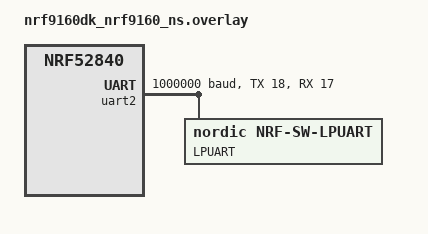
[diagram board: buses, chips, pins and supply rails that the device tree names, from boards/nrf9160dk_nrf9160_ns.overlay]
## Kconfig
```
#
# Copyright (c) 2018 Nordic Semiconductor ASA
#
# SPDX-License-Identifier: LicenseRef-Nordic-5-Clause
#

menu "LTE BLE gateway sample"

choice
	prompt "GPS device"
	default GPS_USE_SIM
	help
		Select from which device GPS data will be fetched.

config GPS_USE_SIM
	bool "Use GPS simulator"
	select GPS_SIM
	select GPS_SIM_TRIGGER
	help
		Use simulated GPS data.

config GPS_USE_NRF9160
	bool "User provided GPS device"
	help
		Provide a GPS device that location data will be fetched from and
		sent to nRF Cloud

endchoice

config GPS_DEV_NAME
	string
	default GPS_SIM_DEV_NAME if GPS_USE_SIM
	default "NRF9160_GPS" if GPS_USE_NRF9160

config GPS_SEARCH_INTERVAL
	int "Interval for starting GPS search"
	default 240

config GPS_SEARCH_TIMEOUT
	int "Timeout for GPS search"
	default 120
	help
	  The GPS will stop acquiring GPS fix when it times out.
	  It will restart the search at the start of the next search interval.

endmenu

menu "Zephyr Kernel"
source "Kconfig.zephyr"
endmenu
```

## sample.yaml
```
sample:
  name: LTE-BLE gateway sample
tests:
  samples.nrf9160.lte_ble_gateway:
    build_only: true
    platform_allow: nrf9160dk_nrf9160_ns
    integration_platforms:
      - nrf9160dk_nrf9160_ns
    tags: ci_build
```

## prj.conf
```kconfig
#
# Copyright (c) 2019 Nordic Semiconductor ASA
#
# SPDX-License-Identifier: LicenseRef-Nordic-5-Clause
#
# General config
CONFIG_NEWLIB_LIBC=y
CONFIG_ASSERT=y
CONFIG_REBOOT=y

# Network
CONFIG_NETWORKING=y
CONFIG_NET_NATIVE=n
CONFIG_NET_SOCKETS=y
CONFIG_NET_SOCKETS_OFFLOAD=y

# LTE link control
CONFIG_LTE_LINK_CONTROL=y
CONFIG_LTE_AUTO_INIT_AND_CONNECT=n

# AT host
CONFIG_AT_HOST_LIBRARY=y

# Modem library
CONFIG_NRF_MODEM_LIB=y

# Disable Modem traces, since we need UART1 for HCI
CONFIG_NRF_MODEM_LIB_TRACE_ENABLED=n

# nRF Cloud
CONFIG_NRF_CLOUD_MQTT=y

# GPS
CONFIG_GPS_USE_SIM=y

# For demo purposes, we acquire fix often
CONFIG_GPS_SEARCH_INTERVAL=30
CONFIG_GPS_SEARCH_TIMEOUT=15

# The two configurations below are required if using the nRF9160's built-in GPS
# CONFIG_NRF9160_GPS=y
# CONFIG_GPS_USE_NRF9160=y

# Library for buttons and LEDs
CONFIG_DK_LIBRARY=y
CONFIG_DK_LIBRARY_INVERT_LEDS=n

# Console for user association
CONFIG_CONSOLE_SUBSYS=y
CONFIG_CONSOLE_GETCHAR=y

# Enable Bluetooth stack and libraries
CONFIG_BT=y
CONFIG_BT_H4=y
CONFIG_BT_WAIT_NOP=y
CONFIG_BT_CENTRAL=y
CONFIG_BT_GATT_CLIENT=y
CONFIG_BT_GATT_DM=y
CONFIG_BT_SCAN=y
CONFIG_BT_SCAN_FILTER_ENABLE=y
CONFIG_BT_SCAN_UUID_CNT=1

CONFIG_UART_INTERRUPT_DRIVEN=y

# Heap and stacks
CONFIG_HEAP_MEM_POOL_SIZE=16384
CONFIG_MAIN_STACK_SIZE=8192

# Mitigation for NCSIDB-356
CONFIG_ZERO_LATENCY_IRQS=n
```

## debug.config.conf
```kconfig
#
# Copyright (c) 2021 Nordic Semiconductor ASA
#
# SPDX-License-Identifier: LicenseRef-Nordic-5-Clause
#

CONFIG_LOG=y

# When enabled, non-secure logs are printed to UARTE0 when secure fault occurs
CONFIG_SPM_NS_DEBUG_LOGS_DUMP=y
CONFIG_SPM_SERVICE_NS_HANDLER_FROM_SPM_FAULT=y
```

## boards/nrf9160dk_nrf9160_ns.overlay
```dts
#include <nrf9160dk_nrf52840_reset_on_if5.dtsi>

/ {
	chosen {
		zephyr,bt-uart=&lpuart;
	};
};

&gpiote {
	interrupts = <49 NRF_DEFAULT_IRQ_PRIORITY>;
};

&uart2 {
	current-speed = <1000000>;
	status = "okay";
	tx-pin = <18>; /* <&interface_to_nrf52840 1 0>; */
	rx-pin = <17>; /* <&interface_to_nrf52840 0 0>; */
	/delete-property/ rts-pin;
	/delete-property/ cts-pin;
	/delete-property/ hw-flow-control;

	lpuart: nrf-sw-lpuart {
		compatible = "nordic,nrf-sw-lpuart";
		status = "okay";
		label = "LPUART";
		req-pin = <21>; /* <&interface_to_nrf52840 3 0>; */
		rdy-pin = <19>; /* <&interface_to_nrf52840 2 0>; */
	};
};
```

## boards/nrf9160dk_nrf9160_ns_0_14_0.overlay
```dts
/* Use the reset line that is available starting from v0.14.0 of the DK. */
#include <nrf9160dk_nrf52840_reset_on_if9.dtsi>
```

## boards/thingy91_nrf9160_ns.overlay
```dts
/ {
	chosen {
		zephyr,bt-uart=&lpuart;
	};
};

&uart1 {
	current-speed = <1000000>;
	status = "okay";
	tx-pin = <22>;
	rx-pin = <23>;
	/delete-property/ rts-pin;
	/delete-property/ cts-pin;
	/delete-property/ hw-flow-control;

	lpuart: nrf-sw-lpuart {
		compatible = "nordic,nrf-sw-lpuart";
		status = "okay";
		label = "LPUART";
		req-pin = <24>;
		rdy-pin = <25>;
	};
};

&gpiote {
	interrupts = <49 NRF_DEFAULT_IRQ_PRIORITY>;
};

&uart0 {
	status = "disabled";
};
```

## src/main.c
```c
/*
 * Copyright (c) 2018 Nordic Semiconductor ASA
 *
 * SPDX-License-Identifier: LicenseRef-Nordic-5-Clause
 */

#include <zephyr.h>
#include <stdio.h>
#include <string.h>
#include <drivers/gps.h>
#include <drivers/sensor.h>
#include <console/console.h>
#include <net/nrf_cloud.h>
#include <dk_buttons_and_leds.h>
#include <modem/lte_lc.h>
#include <sys/reboot.h>
#include <modem/nrf_modem_lib.h>

#include "aggregator.h"
#include "ble.h"
#include "alarm.h"

/* Interval in milliseconds between each time status LEDs are updated. */
#define LEDS_UPDATE_INTERVAL K_MSEC(500)

/* Interval in microseconds between each time LEDs are updated when indicating
 * that an error has occurred.
 */
#define LEDS_ERROR_UPDATE_INTERVAL 250000

#define BUTTON_1 BIT(0)
#define BUTTON_2 BIT(1)
#define SWITCH_1 BIT(2)
#define SWITCH_2 BIT(3)

#define LED_ON(x)			(x)
#define LED_BLINK(x)		((x) << 8)
#define LED_GET_ON(x)		((x) & 0xFF)
#define LED_GET_BLINK(x)	(((x) >> 8) & 0xFF)

/* Interval in milliseconds after the device will retry cloud connection
 * if the event NRF_CLOUD_EVT_TRANSPORT_CONNECTED is not received.
 */
#define RETRY_CONNECT_WAIT K_MSEC(90000)

enum {
	LEDS_INITIALIZING       = LED_ON(0),
	LEDS_LTE_CONNECTING     = LED_BLINK(DK_LED3_MSK),
	LEDS_LTE_CONNECTED      = LED_ON(DK_LED3_MSK),
	LEDS_CLOUD_CONNECTING   = LED_BLINK(DK_LED4_MSK),
	LEDS_CLOUD_PAIRING_WAIT = LED_BLINK(DK_LED3_MSK | DK_LED4_MSK),
	LEDS_CLOUD_CONNECTED    = LED_ON(DK_LED4_MSK),
	LEDS_ERROR              = LED_ON(DK_ALL_LEDS_MSK)
} display_state;

/* Variable to keep track of nRF cloud user association request. */
static atomic_val_t association_requested;

/* Sensor data */
static struct gps_nmea gps_nmea_data;
static struct nrf_cloud_sensor_data gps_cloud_data = {
	.type = NRF_CLOUD_SENSOR_GPS,
	.tag = 0x1,
	.data.ptr = gps_nmea_data.buf,
	.data.len = GPS_NMEA_SENTENCE_MAX_LENGTH,
};
static atomic_val_t send_data_enable;

/* Structures for work */
static struct k_work_delayable leds_update_work;
static struct k_work_delayable connect_work;
struct k_work_delayable aggregated_work;

static bool cloud_connected;

enum error_type {
	ERROR_NRF_CLOUD,
	ERROR_MODEM_RECOVERABLE,
};

/* Forward declaration of functions */
static void cloud_connect(struct k_work *work);
static void sensors_init(void);
static void work_init(void);

void sensor_data_send(struct nrf_cloud_sensor_data *data);

/**@brief nRF Cloud error handler. */
void error_handler(enum error_type err_type, int err)
{
	if (err_type == ERROR_NRF_CLOUD) {
		int err;

		/* Turn off and shutdown modem */
		k_sched_lock();
		err = lte_lc_power_off();
		__ASSERT(err == 0, "lte_lc_power_off failed: %d", err);
		nrf_modem_lib_shutdown();
	}

#if !defined(CONFIG_DEBUG)
	sys_reboot(SYS_REBOOT_COLD);
#else
	uint8_t led_pattern;

	switch (err_type) {
	case ERROR_NRF_CLOUD:
		/* Blinking all LEDs ON/OFF in pairs (1 and 4, 2 and 3)
		 * if there is an application error.
		 */
		led_pattern = DK_LED1_MSK | DK_LED4_MSK;
		printk("Error of type ERROR_NRF_CLOUD: %d\n", err);
		break;
	case ERROR_MODEM_RECOVERABLE:
		/* Blinking all LEDs ON/OFF in pairs (1 and 3, 2 and 4)
		 * if there is a recoverable error.
		 */
		led_pattern = DK_LED1_MSK | DK_LED3_MSK;
		printk("Error of type ERROR_MODEM_RECOVERABLE: %d\n", err);
		break;
	default:
		/* Blinking all LEDs ON/OFF in pairs (1 and 2, 3 and 4)
		 * undefined error.
		 */
		led_pattern = DK_LED1_MSK | DK_LED2_MSK;
		break;
	}

	while (true) {
		dk_set_leds(led_pattern & 0x0f);
		k_busy_wait(LEDS_ERROR_UPDATE_INTERVAL);
		dk_set_leds(~led_pattern & 0x0f);
		k_busy_wait(LEDS_ERROR_UPDATE_INTERVAL);
	}
#endif /* CONFIG_DEBUG */
}

void nrf_cloud_error_handler(int err)
{
	error_handler(ERROR_NRF_CLOUD, err);
}

/**@brief Recoverable modem library error. */
void nrf_modem_recoverable_error_handler(uint32_t err)
{
	error_handler(ERROR_MODEM_RECOVERABLE, (int)err);
}

/**@brief Callback for GPS events */
static void gps_handler(const struct device *dev, struct gps_event *evt)
{
	uint32_t button_state, has_changed;
	struct sensor_data in_data = {
		.type = GPS_POSITION,
		.length = evt->nmea.len,
	};

	ARG_UNUSED(dev);

	switch (evt->type) {
	case GPS_EVT_SEARCH_STARTED:
		printk("GPS_EVT_SEARCH_STARTED\n");
		return;
	case GPS_EVT_SEARCH_STOPPED:
		printk("GPS_EVT_SEARCH_STOPPED\n");
		return;
	case GPS_EVT_SEARCH_TIMEOUT:
		printk("GPS_EVT_SEARCH_TIMEOUT\n");
		return;
	case GPS_EVT_PVT_FIX:
		printk("GPS_EVT_PVT_FIX\n");
		return;
	case GPS_EVT_NMEA_FIX:
		printk("GPS_EVT_NMEA_FIX\n");
		break;
	default:
		return;
	}

	dk_read_buttons(&button_state, &has_changed);

	if ((button_state & SWITCH_2) || !atomic_get(&send_data_enable)) {
		return;
	}

	gps_cloud_data.tag++;

	if (gps_cloud_data.tag == 0) {
		gps_cloud_data.tag = 0x1;
	}

	memcpy(&in_data.data[0], &gps_cloud_data.tag,
		sizeof(gps_cloud_data.tag));

	memcpy(&in_data.data[sizeof(gps_cloud_data.tag)],
		evt->nmea.buf, evt->nmea.len);

	if (aggregator_put(in_data) != 0) {
		printk("Failed to store GPS data.\n");
	}
}

/**@brief Update LEDs state. */
static void leds_update(struct k_work *work)
{
	static bool led_on;
	static uint8_t current_led_on_mask;
	uint8_t led_on_mask = current_led_on_mask;

	ARG_UNUSED(work);

	/* Reset LED3 and LED4. */
	led_on_mask &= ~(DK_LED3_MSK | DK_LED4_MSK);

	/* Set LED3 and LED4 to match current state. */
	led_on_mask |= LED_GET_ON(display_state);

	led_on = !led_on;
	if (led_on) {
		led_on_mask |= LED_GET_BLINK(display_state);
	} else {
		led_on_mask &= ~LED_GET_BLINK(display_state);
	}

	if (led_on_mask != current_led_on_mask) {
		dk_set_leds(led_on_mask);
		current_led_on_mask = led_on_mask;
	}

	k_work_schedule(&leds_update_work, LEDS_UPDATE_INTERVAL);
}

/**@brief Send sensor data to nRF Cloud. **/
void sensor_data_send(struct nrf_cloud_sensor_data *data)
{
	int err;

	if (!atomic_get(&send_data_enable)) {
		return;
	}

	if (data->type == NRF_CLOUD_SENSOR_FLIP) {
		err = nrf_cloud_sensor_data_stream(data);
	} else {
		err = nrf_cloud_sensor_data_send(data);
	}

	if (err) {
		printk("Failed to send data to cloud: %d\n", err);
		nrf_cloud_error_handler(err);
	}
}

static void on_cloud_evt_user_association_request(void)
{
	if (atomic_get(&association_requested) == 0) {
		atomic_set(&association_requested, 1);
		printk("Add device to cloud account.\n");
		printk("Waiting for cloud association...\n");
	}
}

static void on_cloud_evt_user_associated(void)
{
	int err;

	if (atomic_get(&association_requested)) {
		atomic_set(&association_requested, 0);

		/* after successful association, the device must
		 * reconnect to aws.
		 */
		printk("Device associated with cloud.\n");
		printk("Reconnecting for settings to take effect.\n");
		printk("Disconnecting from cloud...\n");

		err = nrf_cloud_disconnect();

		if (err == 0) {
			return;
		} else {
			printk("Disconnect failed, rebooting...\n");
			nrf_cloud_error_handler(err);
		}
	}
}

/**@brief Callback for nRF Cloud events. */
static void cloud_event_handler(const struct nrf_cloud_evt *evt)
{
	switch (evt->type) {
	case NRF_CLOUD_EVT_TRANSPORT_CONNECTED:
		printk("NRF_CLOUD_EVT_TRANSPORT_CONNECTED\n");
		cloud_connected = true;
		/* This may fail if the work item is already being processed,
		 * but in such case, the next time the work handler is executed,
		 * it will exit after checking the above flag and the work will
		 * not be scheduled again.
		 */
		(void)k_work_cancel_delayable(&connect_work);
		break;
	case NRF_CLOUD_EVT_USER_ASSOCIATION_REQUEST:
		printk("NRF_CLOUD_EVT_USER_ASSOCIATION_REQUEST\n");
		display_state = LEDS_CLOUD_PAIRING_WAIT;
		on_cloud_evt_user_association_request();
		break;
	case NRF_CLOUD_EVT_USER_ASSOCIATED:
		printk("NRF_CLOUD_EVT_USER_ASSOCIATED\n");
		on_cloud_evt_user_associated();
		break;
	case NRF_CLOUD_EVT_READY:
		printk("NRF_CLOUD_EVT_READY\n");
		display_state = LEDS_CLOUD_CONNECTED;
		sensors_init();
		atomic_set(&send_data_enable, 1);
		k_work_schedule(&aggregated_work, K_MSEC(100));
		break;
	case NRF_CLOUD_EVT_SENSOR_DATA_ACK:
		printk("NRF_CLOUD_EVT_SENSOR_DATA_ACK\n");
		break;
	case NRF_CLOUD_EVT_TRANSPORT_DISCONNECTED:
		printk("NRF_CLOUD_EVT_TRANSPORT_DISCONNECTED\n");
		atomic_set(&send_data_enable, 0);
		k_work_cancel_delayable(&aggregated_work);
		display_state = LEDS_INITIALIZING;

		cloud_connected = false;
		/* Reconnect to nRF Cloud. */
		k_work_schedule(&connect_work, K_NO_WAIT);
		break;
	case NRF_CLOUD_EVT_ERROR:
		printk("NRF_CLOUD_EVT_ERROR, status: %d\n", evt->status);
		atomic_set(&send_data_enable, 0);
		display_state = LEDS_ERROR;
		nrf_cloud_error_handler(evt->status);
		break;
	default:
		printk("Received unknown event %d\n", evt->type);
		break;
	}
}

/**@brief Initialize nRF CLoud library. */
static void cloud_init(void)
{
	const struct nrf_cloud_init_param param = {
		.event_handler = cloud_event_handler
	};

	int err = nrf_cloud_init(&param);

	__ASSERT(err == 0, "nRF Cloud library could not be initialized.");
}

/**@brief Connect to nRF Cloud, */
static void cloud_connect(struct k_work *work)
{
	int err;

	ARG_UNUSED(work);

	if (cloud_connected) {
		return;
	}

	const enum nrf_cloud_sensor supported_sensors[] = {
		NRF_CLOUD_SENSOR_GPS, NRF_CLOUD_SENSOR_FLIP
	};

	const struct nrf_cloud_sensor_list sensor_list = {
		.size = ARRAY_SIZE(supported_sensors), .ptr = supported_sensors
	};

	const struct nrf_cloud_connect_param param = {
		.sensor = &sensor_list,
	};

	err = nrf_cloud_connect(&param);

	if (err) {
		printk("nrf_cloud_connect failed: %d\n", err);
		nrf_cloud_error_handler(err);
	}

	display_state = LEDS_CLOUD_CONNECTING;
	k_work_schedule(&connect_work, RETRY_CONNECT_WAIT);
}

/**@brief Callback for button events from the DK buttons and LEDs library. */
static void button_handler(uint32_t buttons, uint32_t has_changed)
{
	printk("button_handler: button 1: %u, button 2: %u "
	       "switch 1: %u, switch 2: %u\n",
	       (bool)(buttons & BUTTON_1), (bool)(buttons & BUTTON_2),
	       (bool)(buttons & SWITCH_1), (bool)(buttons & SWITCH_2));
}

/**@brief Initializes and submits delayed work. */
static void work_init(void)
{
	k_work_init_delayable(&leds_update_work, leds_update);
	k_work_init_delayable(&connect_work, cloud_connect);
	k_work_init_delayable(&aggregated_work, send_aggregated_data);
	k_work_schedule(&leds_update_work, LEDS_UPDATE_INTERVAL);
}

/**@brief Configures modem to provide LTE link. Blocks until link is
 * successfully established.
 */
static void modem_configure(void)
{
	display_state = LEDS_LTE_CONNECTING;

	if (IS_ENABLED(CONFIG_LTE_AUTO_INIT_AND_CONNECT)) {
		/* Do nothing, modem is already turned on and connected. */
	} else {
		int err;

		printk("Establishing LTE link (this may take some time) ...\n");
		err = lte_lc_init_and_connect();
		__ASSERT(err == 0, "LTE link could not be established.");
		display_state = LEDS_LTE_CONNECTED;
	}
}

/**@brief Initializes the sensors that are used by the application. */
static void sensors_init(void)
{
	int err;
	const struct device *gps_dev = device_get_binding(CONFIG_GPS_DEV_NAME);
	struct gps_config gps_cfg = {
		.nav_mode = GPS_NAV_MODE_PERIODIC,
		.interval = CONFIG_GPS_SEARCH_INTERVAL,
		.timeout = CONFIG_GPS_SEARCH_TIMEOUT,
	};

	if (gps_dev == NULL) {
		printk("Could not get %s device\n", CONFIG_GPS_DEV_NAME);
		return;
	}

	err = gps_init(gps_dev, gps_handler);
	if (err) {
		printk("Could not initialize GPS, error: %d\n", err);
		return;
	}

	printk("GPS initialized\n");

	err = gps_start(gps_dev, &gps_cfg);
	if (err) {
		printk("Failed to start GPS, error: %d\n", err);
		return;
	}

	printk("GPS started with interval %d seconds, and timeout %d seconds\n",
	       CONFIG_GPS_SEARCH_INTERVAL, CONFIG_GPS_SEARCH_TIMEOUT);
}

/**@brief Initializes buttons and LEDs, using the DK buttons and LEDs
 * library.
 */
static void buttons_leds_init(void)
{
	int err;

	err = dk_buttons_init(button_handler);
	if (err) {
		printk("Could not initialize buttons, err code: %d\n", err);
	}

	err = dk_leds_init();
	if (err) {
		printk("Could not initialize leds, err code: %d\n", err);
	}

	err = dk_set_leds_state(0x00, DK_ALL_LEDS_MSK);
	if (err) {
		printk("Could not set leds state, err code: %d\n", err);
	}
}

void main(void)
{
	printk("LTE Sensor Gateway sample started\n");

	buttons_leds_init();
	ble_init();

	work_init();
	cloud_init();
	modem_configure();
	cloud_connect(NULL);
}
```

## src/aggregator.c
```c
/*
 * Copyright (c) 2018 Nordic Semiconductor ASA
 *
 * SPDX-License-Identifier: LicenseRef-Nordic-5-Clause
 */
#include "aggregator.h"
#include <kernel.h>
#include <zephyr.h>
#include <stdio.h>
#include <zephyr/types.h>
#include <string.h>
#include <irq.h>

K_FIFO_DEFINE(aggregator_fifo);

static uint32_t entry_count;

struct fifo_entry {
	void *fifo_reserved;
	uint8_t data[sizeof(struct sensor_data)];
};

int aggregator_put(struct sensor_data in_data)
{
	struct fifo_entry *fifo_data = NULL;
	uint32_t  lock = irq_lock();
	int    err  = 0;

	if (entry_count == FIFO_MAX_ELEMENT_COUNT) {
		fifo_data = k_fifo_get(&aggregator_fifo, K_NO_WAIT);

		__ASSERT(fifo_data != NULL, "fifo_data should not be NULL");

		entry_count--;
	}

	if (fifo_data == NULL) {
		fifo_data = k_malloc(sizeof(struct fifo_entry));
	}

	if (fifo_data == NULL) {
		err = -ENOMEM;
		goto exit;
	}

	memcpy(fifo_data->data, &in_data, sizeof(struct sensor_data));

	k_fifo_put(&aggregator_fifo, fifo_data);
	entry_count++;

exit:
	irq_unlock(lock);
	return err;
}

int aggregator_get(struct sensor_data *out_data)
{
	void  *fifo_data;
	int   err = 0;

	if (out_data == NULL) {
		return -EINVAL;
	}

	uint32_t lock = irq_lock();

	fifo_data = k_fifo_get(&aggregator_fifo, K_NO_WAIT);
	if (fifo_data == NULL) {
		err = -ENODATA;
		goto exit;
	}

	memcpy(out_data, ((struct fifo_entry *)fifo_data)->data,
	       sizeof(struct sensor_data));

	k_free(fifo_data);
	entry_count--;

exit:
	irq_unlock(lock);
	return err;
}

void aggregator_clear(void)
{
	void *fifo_data;
	uint32_t lock = irq_lock();

	while (1) {
		fifo_data = k_fifo_get(&aggregator_fifo, K_NO_WAIT);

		if (fifo_data == NULL) {
			break;
		}

		k_free(fifo_data);
	};

	entry_count = 0;
	irq_unlock(lock);
}

int aggregator_element_count_get(void)
{
	return entry_count;
}
```

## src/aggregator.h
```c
/*
 * Copyright (c) 2018 Nordic Semiconductor ASA
 *
 * SPDX-License-Identifier: LicenseRef-Nordic-5-Clause
 */

#ifndef _AGGREGATOR_H_
#define _AGGREGATOR_H_

/*
 * Simple aggregator module which can have sensordata added and retrieved in a
 * FIFO fashion. The queue allows TLD formated data to be aggregated from
 * sensors in a FIFO fashion. When some event in the future causes data
 * transfer to start, the most recent X datapoints (determined by ENTRY_MAX_SIZE
 * and HEAP_MEM_POOL_SIZE) can be transferred.
 *
 * Note: The module is single instance to allow simple global access to the
 * data.
 */
#include <zephyr/types.h>
#include <drivers/gps.h>

/* In this sample the GPS data is 83 byte + a data sequence tag,
 * so 87 byte is used.
 */
#define ENTRY_MAX_SIZE (GPS_NMEA_SENTENCE_MAX_LENGTH + 4)
#define FIFO_MAX_ELEMENT_COUNT 12

enum sensor_data_type { THINGY_ORIENTATION, GPS_POSITION };

struct sensor_data {
	uint8_t length;
	enum sensor_data_type type;
	uint8_t data[ENTRY_MAX_SIZE];
};

int aggregator_init(void);

int aggregator_put(struct sensor_data data);

int aggregator_get(struct sensor_data *data);

void aggregator_clear(void);

int aggregator_element_count_get(void);

#endif /* _AGGREGATOR_H_ */
```

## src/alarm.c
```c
/*
 * Copyright (c) 2018 Nordic Semiconductor ASA
 *
 * SPDX-License-Identifier: LicenseRef-Nordic-5-Clause
 */
#include <string.h>
#include <stdbool.h>
#include <sys/printk.h>
#include <net/nrf_cloud.h>

#include "alarm.h"

#include "aggregator.h"

static bool alarm_pending;

extern void sensor_data_send(struct nrf_cloud_sensor_data *data);

extern struct k_work_delayable aggregated_work;

char *orientation_strings[] = {"LEFT", "NORMAL", "RIGHT", "UPSIDE_DOWN"};

void alarm(void)
{
	alarm_pending = true;
}

void send_aggregated_data(struct k_work *work)
{
	ARG_UNUSED(work);

	static uint8_t gps_data_buffer[GPS_NMEA_SENTENCE_MAX_LENGTH];

	static struct nrf_cloud_sensor_data gps_cloud_data = {
		.type = NRF_CLOUD_SENSOR_GPS,
		.data.ptr = gps_data_buffer,
	};

	static struct nrf_cloud_sensor_data flip_cloud_data = {
		.type = NRF_CLOUD_SENSOR_FLIP,
	};

	struct sensor_data aggregator_data;

	k_work_schedule(&aggregated_work, K_MSEC(100));

	if (!alarm_pending) {
		return;
	}

	alarm_pending = false;

	printk("Alarm triggered !\n");
	while (1) {
		if (aggregator_get(&aggregator_data) == -ENODATA) {
			break;
		}
		switch (aggregator_data.type) {
		case THINGY_ORIENTATION:
			printk("%d] Sending FLIP data.\n",
			       aggregator_element_count_get());
			if (aggregator_data.length != 1 ||
				aggregator_data.data[0] >=
				ARRAY_SIZE(orientation_strings)) {
				printk("Unexpected FLIP data format, dropping\n");
				continue;
			}
			flip_cloud_data.data.ptr =
				orientation_strings[aggregator_data.data[0]];
			flip_cloud_data.data.len = strlen(
				orientation_strings[aggregator_data.data[0]]) - 1;
			sensor_data_send(&flip_cloud_data);
			break;

		case GPS_POSITION:
			printk("%d] Sending GPS data.\n",
			       aggregator_element_count_get());
			gps_cloud_data.data.ptr = &aggregator_data.data[4];
			gps_cloud_data.data.len = aggregator_data.length;
			gps_cloud_data.tag =
			    *((uint32_t *)&aggregator_data.data[0]);
			sensor_data_send(&gps_cloud_data);
			break;

		default:
			printk("Unsupported data type from aggregator: %d.\n",
			       aggregator_data.type);
			continue;
		}
	}
}
```

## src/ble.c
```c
/*
 * Copyright (c) 2018 Nordic Semiconductor ASA
 *
 * SPDX-License-Identifier: LicenseRef-Nordic-5-Clause
 */

#include <zephyr.h>

#include <bluetooth/bluetooth.h>
#include <bluetooth/gatt.h>
#include <bluetooth/uuid.h>
#include <bluetooth/gatt_dm.h>
#include <bluetooth/scan.h>

#include <dk_buttons_and_leds.h>
#include <sys/byteorder.h>

#include <net/nrf_cloud.h>
#include "aggregator.h"

/* Thinghy advertisement UUID */
#define BT_UUID_THINGY_VAL \
	BT_UUID_128_ENCODE(0xef680100, 0x9b35, 0x4933, 0x9b10, 0x52ffa9740042)

#define BT_UUID_THINGY \
	BT_UUID_DECLARE_128(BT_UUID_THINGY_VAL)
/* Thingy service UUID */
#define BT_UUID_TMS_VAL \
	BT_UUID_128_ENCODE(0xef680400, 0x9b35, 0x4933, 0x9b10, 0x52ffa9740042)

#define BT_UUID_TMS \
	BT_UUID_DECLARE_128(BT_UUID_TMS_VAL)
		/* Thingy characteristic UUID */
#define BT_UUID_TOC_VAL \
	BT_UUID_128_ENCODE(0xef680403, 0x9b35, 0x4933, 0x9b10, 0x52ffa9740042)

#define BT_UUID_TOC \
	BT_UUID_DECLARE_128(BT_UUID_TOC_VAL)
extern void alarm(void);

static uint8_t on_received(struct bt_conn *conn,
			struct bt_gatt_subscribe_params *params,
			const void *data, uint16_t length)
{
	if (length > 0) {
		printk("Orientation: %x\n", ((uint8_t *)data)[0]);
		struct sensor_data in_data;

		in_data.type = THINGY_ORIENTATION;
		in_data.length = 1;
		in_data.data[0] = ((uint8_t *)data)[0];

		if (aggregator_put(in_data) != 0) {
			printk("Was not able to insert Thingy orientation data into aggregator.\n");
		}
		/* If the thingy is upside down, trigger an alarm. */
		if (((uint8_t *)data)[0] == 3) {
			alarm();
		}

	} else {
		printk("Orientation notification with 0 length\n");
	}
	return BT_GATT_ITER_CONTINUE;
}

static void discovery_completed(struct bt_gatt_dm *disc, void *ctx)
{
	int err;

	/* Must be statically allocated */
	static struct bt_gatt_subscribe_params param = {
		.notify = on_received,
		.value = BT_GATT_CCC_NOTIFY,
	};

	const struct bt_gatt_dm_attr *chrc;
	const struct bt_gatt_dm_attr *desc;

	chrc = bt_gatt_dm_char_by_uuid(disc, BT_UUID_TOC);
	if (!chrc) {
		printk("Missing Thingy orientation characteristic\n");
		goto release;
	}

	desc = bt_gatt_dm_desc_by_uuid(disc, chrc, BT_UUID_TOC);
	if (!desc) {
		printk("Missing Thingy orientation char value descriptor\n");
		goto release;
	}

	param.value_handle = desc->handle,

	desc = bt_gatt_dm_desc_by_uuid(disc, chrc, BT_UUID_GATT_CCC);
	if (!desc) {
		printk("Missing Thingy orientation char CCC descriptor\n");
		goto release;
	}

	param.ccc_handle = desc->handle;

	err = bt_gatt_subscribe(bt_gatt_dm_conn_get(disc), &param);
	if (err) {
		printk("Subscribe failed (err %d)\n", err);
	}

release:
	err = bt_gatt_dm_data_release(disc);
	if (err) {
		printk("Could not release discovery data, err: %d\n", err);
	}
}

static void discovery_service_not_found(struct bt_conn *conn, void *ctx)
{
	printk("Thingy orientation service not found!\n");
}

static void discovery_error_found(struct bt_conn *conn, int err, void *ctx)
{
	printk("The discovery procedure failed, err %d\n", err);
}

static struct bt_gatt_dm_cb discovery_cb = {
	.completed = discovery_completed,
	.service_not_found = discovery_service_not_found,
	.error_found = discovery_error_found,
};

static void connected(struct bt_conn *conn, uint8_t conn_err)
{
	int err;
	char addr[BT_ADDR_LE_STR_LEN];

	bt_addr_le_to_str(bt_conn_get_dst(conn), addr, sizeof(addr));

	if (conn_err) {
		printk("Failed to connect to %s (%u)\n", addr, conn_err);
		return;
	}

	printk("Connected: %s\n", addr);

	err = bt_gatt_dm_start(conn, BT_UUID_TMS, &discovery_cb, NULL);
	if (err) {
		printk("Could not start service discovery, err %d\n", err);
	}
}

static struct bt_conn_cb conn_callbacks = {
	.connected = connected,
};

void scan_filter_match(struct bt_scan_device_info *device_info,
		       struct bt_scan_filter_match *filter_match,
		       bool connectable)
{
	char addr[BT_ADDR_LE_STR_LEN];

	bt_addr_le_to_str(device_info->recv_info->addr, addr, sizeof(addr));

	printk("Device found: %s\n", addr);
}

void scan_connecting_error(struct bt_scan_device_info *device_info)
{
	printk("Connection to peer failed!\n");
}

BT_SCAN_CB_INIT(scan_cb, scan_filter_match, NULL, scan_connecting_error, NULL);

static void scan_start(void)
{
	int err;

	struct bt_le_scan_param scan_param = {
		.type = BT_LE_SCAN_TYPE_ACTIVE,
		.options = BT_LE_SCAN_OPT_FILTER_DUPLICATE,
		.interval = 0x0010,
		.window = 0x0010,
	};

	struct bt_scan_init_param scan_init = {
		.connect_if_match = 1,
		.scan_param = &scan_param,
		.conn_param = BT_LE_CONN_PARAM_DEFAULT,
	};

	bt_scan_init(&scan_init);
	bt_scan_cb_register(&scan_cb);

	err = bt_scan_filter_add(BT_SCAN_FILTER_TYPE_UUID, BT_UUID_THINGY);
	if (err) {
		printk("Scanning filters cannot be set\n");
		return;
	}

	err = bt_scan_filter_enable(BT_SCAN_UUID_FILTER, false);
	if (err) {
		printk("Filters cannot be turned on\n");
	}

	err = bt_scan_start(BT_SCAN_TYPE_SCAN_ACTIVE);
	if (err) {
		printk("Scanning failed to start, err %d\n", err);
	}

	printk("Scanning...\n");
}

static void ble_ready(int err)
{
	printk("Bluetooth ready\n");

	bt_conn_cb_register(&conn_callbacks);
	scan_start();
}

void ble_init(void)
{
	int err;

	printk("Initializing Bluetooth..\n");
	err = bt_enable(ble_ready);
	if (err) {
		printk("Bluetooth init failed (err %d)\n", err);
		return;
	}
}
```
